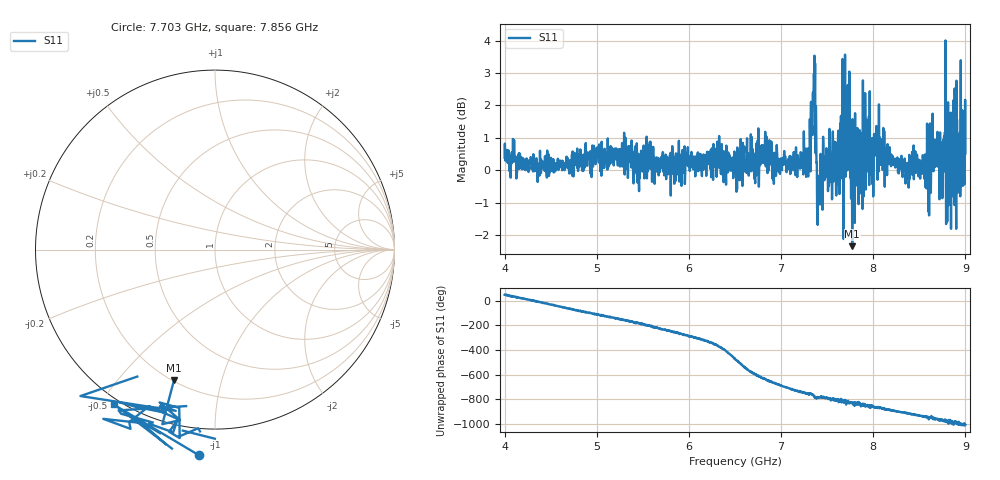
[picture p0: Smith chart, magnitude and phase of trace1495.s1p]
! Created with skrf 1.8.0 (http://scikit-rf.org).
# Hz S RI R 50.0
!freq ReS11 ImS11
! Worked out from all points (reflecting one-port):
!   1601 points, 4 GHz to 9 GHz, reference 50 ohm
!   lowest |S11| = -2.3 dB at 7.772 GHz (marker M1), VSWR 7.46, Z = 10.2 - j35.7 ohm
!   phase of S11 starts at 48 deg and turns -1053 deg over the sweep
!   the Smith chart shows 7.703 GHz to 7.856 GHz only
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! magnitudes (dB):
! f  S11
! 4 GHz  0.4
! 4.625 GHz  0.0
! 5.25 GHz  0.1
! 5.875 GHz  0.3
! 6.5 GHz  0.1
! 6.806 GHz  0.3
! 7.125 GHz  0.3
! 7.294 GHz  -0.2
! 7.347 GHz  2.4
! 7.369 GHz  3.3
! 7.397 GHz  -1.7
! 7.416 GHz  -0.6
! 7.478 GHz  -0.1
! 7.591 GHz  0.9
! 7.669 GHz  0.8
! 7.75 GHz  -0.2
! 7.772 GHz  -2.3
! 7.928 GHz  1.1
! 7.981 GHz  0.1
! 8.088 GHz  0.5
! 8.375 GHz  -0.2
! 8.434 GHz  0.2
! 8.581 GHz  -0.6
! 8.656 GHz  1.0
! 8.725 GHz  1.2
! 8.788 GHz  -0.1
! 8.841 GHz  1.8
! 9 GHz  0.5
